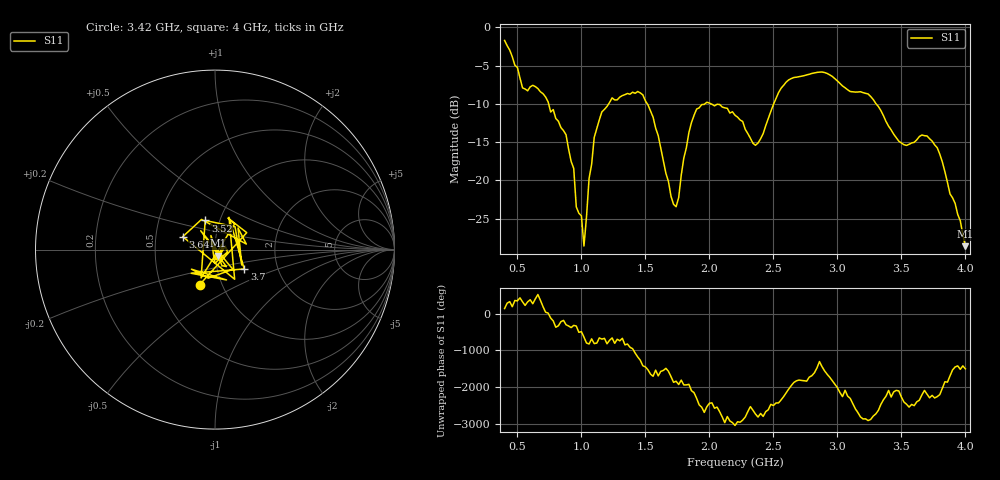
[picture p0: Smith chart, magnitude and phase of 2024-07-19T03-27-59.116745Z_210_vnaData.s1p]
!Created with skrf (http://scikit-rf.org).
# Hz S RI R 50.0
!freq ReS11 ImS11
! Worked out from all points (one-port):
!   181 points, 400 MHz to 4 GHz, reference 50 ohm
!   lowest |S11| = -28.6 dB at 4 GHz (marker M1), VSWR 1.08, Z = 51.6 - j3.41 ohm
!   |S11| at or under -10 dB: 743.9 MHz to 1.213 GHz (468.8 MHz wide, 47.9 % of centre); 2.014 GHz to 2.502 GHz (488.5 MHz wide, 21.6 % of centre); 3.303 GHz to end of sweep (the widest 3 of 4)
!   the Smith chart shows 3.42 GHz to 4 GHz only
!   S11 on the Smith chart (normalised r, x): 3.42 GHz: 0.78, -0.32; 3.52 GHz: 0.85, +0.29; 3.64 GHz: 0.69, +0.10; 3.7 GHz: 1.35, -0.30; 4 GHz: 1.03, -0.07
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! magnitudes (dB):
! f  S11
! 400 MHz  -1.7
! 540 MHz  -7.9
! 700 MHz  -8.7
! 860 MHz  -13.5
! 940 MHz  -18.4
! 960 MHz  -23.5
! 1 GHz  -24.6
! 1.02 GHz  -28.6
! 1.1 GHz  -14.4
! 1.3 GHz  -9.1
! 1.48 GHz  -8.8
! 1.56 GHz  -11.7
! 1.72 GHz  -23.1
! 1.76 GHz  -22.2
! 1.84 GHz  -13.7
! 1.9 GHz  -10.7
! 2.2 GHz  -11.5
! 2.36 GHz  -15.4
! 2.66 GHz  -6.6
! 3.1 GHz  -8.4
! 3.24 GHz  -8.7
! 3.42 GHz  -13.4
! 3.52 GHz  -15.3
! 3.56 GHz  -15.3
! 3.64 GHz  -14.3
! 3.7 GHz  -14.2
! 3.8 GHz  -16.6
! 4 GHz  -28.6
